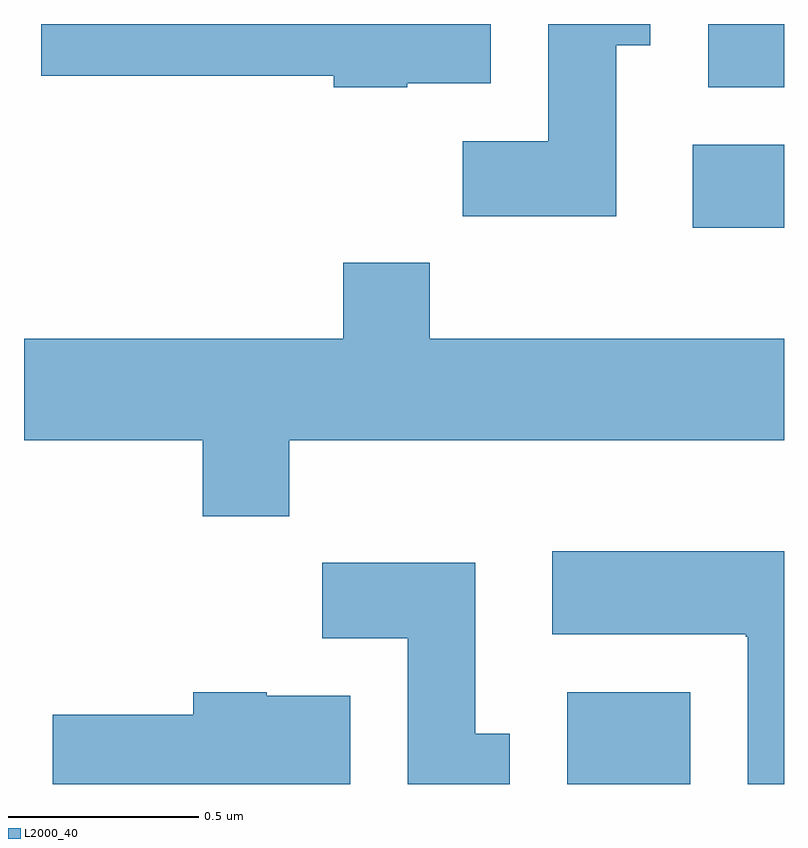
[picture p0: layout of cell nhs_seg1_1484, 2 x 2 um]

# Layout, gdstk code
import gdstk
lib = gdstk.Library(unit=1e-6, precision=1e-09)
def R(c, l, rs):  # rectangles x0, y0, x1, y1
    for r in rs: c.add(gdstk.rectangle(r[:2], r[2:], *l))
def P(c, l, *ps):  # polygons
    for p in ps: c.add(gdstk.Polygon(p, *l))
L2000_40 = (2000, 40)

nhs_seg1_1484 = lib.new_cell('nhs_seg1_1484')
R(nhs_seg1_1484, L2000_40, [(197.041,969.712,197.364,969.954), (197.371,971.176,197.611,971.394), (197.411,971.546,197.611,971.712)])
P(nhs_seg1_1484, L2000_40, [(197.169,971.656),(197.259,971.656),(197.259,971.712),(196.991,971.712),(196.991,971.404),(196.766,971.404),(196.766,971.206),(197.169,971.206)],
  [(196.62,971.556),(196.839,971.556),(196.839,971.712),(195.656,971.712),(195.656,971.576),(196.426,971.576),(196.426,971.546),(196.62,971.546)],
  [(196.309,970.616),(197.611,970.616),(197.611,970.884),(196.679,970.884),(196.679,971.084),(196.451,971.084),(196.451,970.884),(195.611,970.884),(195.611,970.616),(196.081,970.616),(196.081,970.416),(196.309,970.416)],
  [(197.611,970.324),(197.001,970.324),(197.001,970.106),(197.51,970.106),(197.51,970.1),(197.516,970.1),(197.516,969.712),(197.611,969.712)],
  [(196.889,969.844),(196.799,969.844),(196.799,970.294),(196.396,970.294),(196.396,970.096),(196.621,970.096),(196.621,969.712),(196.889,969.712)],
  [(196.469,969.944),(196.25,969.944),(196.25,969.954),(196.056,969.954),(196.056,969.894),(195.686,969.894),(195.686,969.712),(196.469,969.712)])

lib.write_gds('nhs_seg1_1484.gds')
